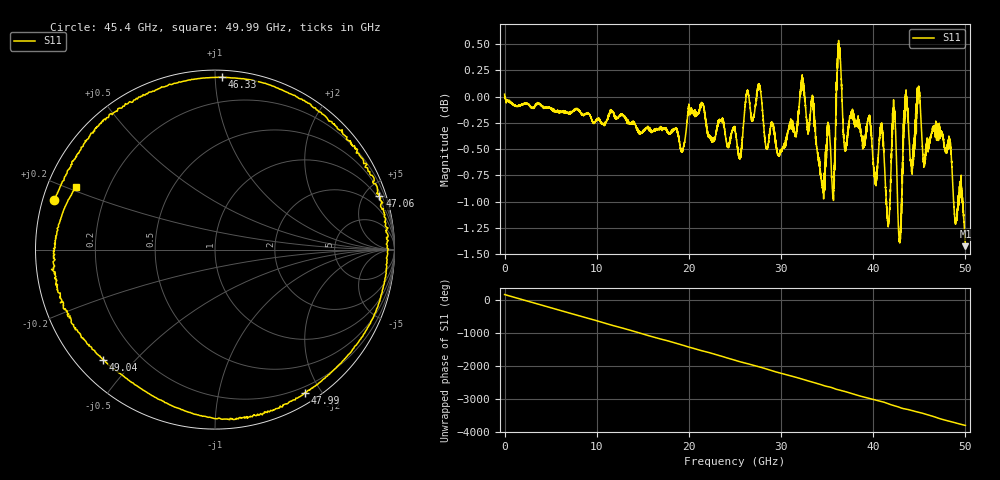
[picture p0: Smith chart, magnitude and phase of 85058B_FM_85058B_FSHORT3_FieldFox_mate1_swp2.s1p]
!Created with skrf (http://scikit-rf.org).
# Hz S RI R 50.0
!freq ReS11 ImS11
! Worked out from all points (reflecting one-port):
!   10000 points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, 5.3 MHz to 50 GHz, reference 50 ohm
!   lowest |S11| = -1.4 dB at 50 GHz (marker M1), VSWR 12.22, Z = 4.29 + j11.1 ohm
!   phase of S11 starts at 180 deg and turns -3985 deg over the sweep
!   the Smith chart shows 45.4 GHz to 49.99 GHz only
!   S11 on the Smith chart (normalised r, x): 45.4 GHz: 0.03, +0.15; 46.33 GHz: 0.04, +1.04; 47.06 GHz: 0.73, +6.20; 47.99 GHz: 0.13, -1.81; 49.04 GHz: 0.08, -0.41; 49.99 GHz: 0.08, +0.21
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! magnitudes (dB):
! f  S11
! 5.3 MHz  0.0
! 6.255 GHz  -0.1
! 12.51 GHz  -0.2
! 18.76 GHz  -0.3
! 25.01 GHz  -0.3
! 27.6 GHz  0.1
! 28.44 GHz  -0.5
! 31.26 GHz  -0.2
! 32.33 GHz  0.2
! 35.64 GHz  -1.0
! 36.3 GHz  0.4
! 36.93 GHz  -0.5
! 37.51 GHz  -0.2
! 40.23 GHz  -0.8
! 40.9 GHz  -0.3
! 41.6 GHz  -1.2
! 42.26 GHz  -0.1
! 42.87 GHz  -1.4
! 43.76 GHz  -0.1
! 44.21 GHz  -0.7
! 44.93 GHz  0.1
! 45.4 GHz  -0.6
! 46.33 GHz  -0.4
! 47.06 GHz  -0.3
! 47.99 GHz  -0.5
! 49.04 GHz  -1.2
! 49.99 GHz  -1.4
! 50 GHz  -1.4
